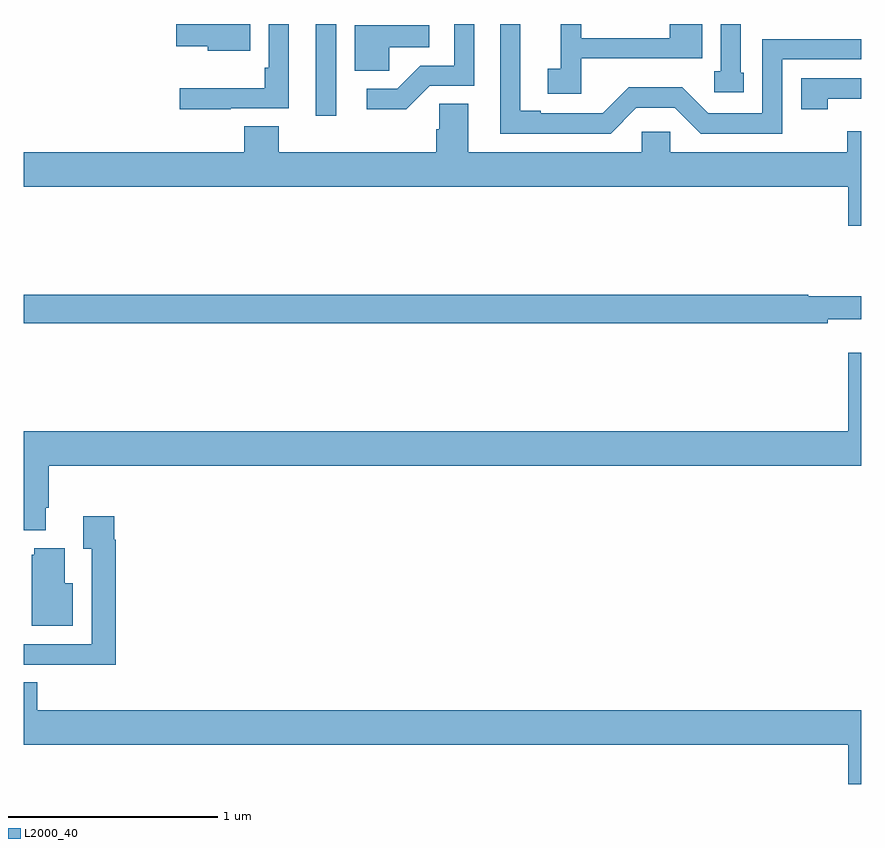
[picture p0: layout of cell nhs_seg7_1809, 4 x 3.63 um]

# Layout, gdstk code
import gdstk
lib = gdstk.Library(unit=1e-6, precision=1e-09)
def R(c, l, rs):  # rectangles x0, y0, x1, y1
    for r in rs: c.add(gdstk.rectangle(r[:2], r[2:], *l))
def P(c, l, *ps):  # polygons
    for p in ps: c.add(gdstk.Polygon(p, *l))
L2000_40 = (2000, 40)

nhs_seg7_1809 = lib.new_cell('nhs_seg7_1809')
R(nhs_seg7_1809, L2000_40, [(234.396,1059.561,234.492,1060)])
P(nhs_seg7_1809, L2000_40, [(234.939,1059.705),(235.152,1059.705),(235.152,1060),(235.056,1060),(235.056,1059.801),(234.894,1059.801),(234.783,1059.69),(234.639,1059.69),(234.639,1059.593),(234.826,1059.593)],
  [(235.662,1059.836),(236.129,1059.836),(236.129,1059.837),(236.239,1059.837),(236.239,1059.998),(236.086,1059.998),(236.086,1059.933),(235.662,1059.933),(235.662,1060),(235.565,1060),(235.565,1059.786),(235.503,1059.786),(235.503,1059.666),(235.662,1059.666)],
  [(235.926,1059.6),(236.109,1059.6),(236.232,1059.477),(236.622,1059.477),(236.622,1059.831),(237,1059.831),(237,1059.927),(236.526,1059.927),(236.526,1059.573),(236.268,1059.573),(236.144,1059.697),(235.89,1059.697),(235.766,1059.573),(235.468,1059.573),(235.468,1059.586),(235.372,1059.586),(235.372,1060),(235.275,1060),(235.275,1059.477),(235.803,1059.477)],
  [(233.989,1059.597),(234.267,1059.597),(234.267,1060),(234.171,1060),(234.171,1059.79),(234.151,1059.79),(234.151,1059.694),(233.745,1059.694),(233.745,1059.593),(233.989,1059.593)],
  [(236.437,1059.768),(236.424,1059.768),(236.424,1060),(236.328,1060),(236.328,1059.774),(236.298,1059.774),(236.298,1059.675),(236.437,1059.675)],
  [(234.082,1060),(233.73,1060),(233.73,1059.893),(233.88,1059.893),(233.88,1059.872),(234.082,1059.872)],
  [(234.745,1059.89),(234.937,1059.89),(234.937,1059.994),(234.581,1059.994),(234.581,1059.776),(234.745,1059.776)],
  [(236.84,1059.644),(237,1059.644),(237,1059.741),(236.712,1059.741),(236.712,1059.594),(236.84,1059.594)],
  [(237,1059.487),(236.932,1059.487),(236.932,1059.388),(236.088,1059.388),(236.088,1059.486),(235.95,1059.486),(235.95,1059.388),(235.123,1059.388),(235.123,1059.62),(234.984,1059.62),(234.984,1059.497),(234.971,1059.497),(234.971,1059.388),(234.218,1059.388),(234.218,1059.512),(234.053,1059.512),(234.053,1059.388),(233,1059.388),(233,1059.224),(236.936,1059.224),(236.936,1059.036),(237,1059.036)],
  [(236.84,1058.591),(237,1058.591),(237,1058.701),(236.745,1058.701),(236.745,1058.708),(233,1058.708),(233,1058.572),(236.84,1058.572)],
  [(233.107,1057.69),(233.12,1057.69),(233.12,1057.892),(237,1057.892),(237,1058.431),(236.936,1058.431),(236.936,1058.056),(233,1058.056),(233,1057.583),(233.107,1057.583)],
  [(233.441,1057.538),(233.434,1057.538),(233.434,1057.651),(233.285,1057.651),(233.285,1057.495),(233.325,1057.495),(233.325,1057.038),(233,1057.038),(233,1056.942),(233.149,1056.942),(233.149,1056.941),(233.441,1056.941)],
  [(233.236,1057.33),(233.197,1057.33),(233.197,1057.498),(233.051,1057.498),(233.051,1057.467),(233.039,1057.467),(233.039,1057.127),(233.236,1057.127)],
  [(237,1056.724),(233.066,1056.724),(233.066,1056.857),(233,1056.857),(233,1056.56),(236.936,1056.56),(236.936,1056.372),(237,1056.372)])

lib.write_gds('nhs_seg7_1809.gds')
